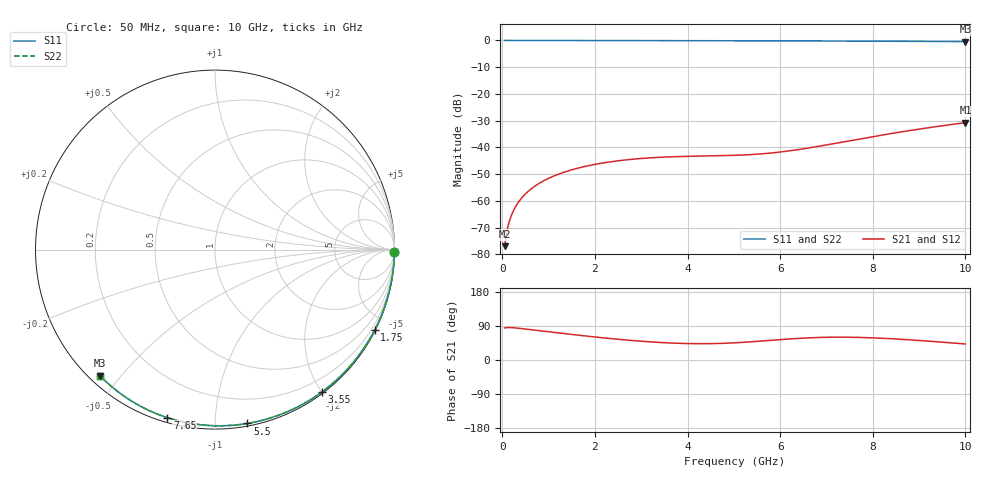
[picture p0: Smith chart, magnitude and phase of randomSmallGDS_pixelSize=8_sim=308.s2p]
! freq	dB(S11)	phase(S11)	dB(S12)	phase(S12)
!  dB(S21)	phase(S21)	dB(S22)	phase(S22)
!S-par simulation data
#  GHz  S  DB  R 50
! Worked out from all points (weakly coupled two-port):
!   200 points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, 50 MHz to 10 GHz, reference 50 ohm
!   highest |S21| = -30.73 dB at 10 GHz (marker M1); lowest = -76.9 dB at 50 MHz (marker M2)
!   lowest |S11| = -0.4 dB at 10 GHz (marker M3), VSWR 39.55, Z = 1.51 - j22 ohm
!   |S11| at or under -10 dB: nowhere
!   |S22| runs from -0.4 to 0.0 dB; largest |S21 - S12| = 0
!   S11 on the Smith chart (normalised r, x): 50 MHz: open; 1.75 GHz: 0.04, -4.19; 3.55 GHz: 0.02, -2.00; 5.5 GHz: 0.02, -1.20; 7.65 GHz: 0.02, -0.76; 10 GHz: 0.03, -0.44
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0.05  -0.00 -0.8  -76.95 84.6  -76.95 84.6  -0.00 -0.8
0.1  -0.00 -1.6  -71.20 85.7  -71.20 85.7  -0.00 -1.6
0.15  -0.00 -2.3  -67.74 85.7  -67.74 85.7  -0.00 -2.3
0.2  -0.00 -3.1  -65.27 85.4  -65.27 85.4  -0.00 -3.1
0.25  -0.00 -3.9  -63.35 85.0  -63.35 85.0  -0.00 -3.9
0.35  -0.00 -5.5  -60.46 83.8  -60.46 83.8  -0.00 -5.5
0.5  -0.01 -7.8  -57.40 81.8  -57.40 81.8  -0.01 -7.8
0.7  -0.01 -10.9  -54.54 78.9  -54.54 78.9  -0.01 -10.9
1  -0.02 -15.5  -51.58 74.6  -51.58 74.6  -0.02 -15.5
1.35  -0.03 -20.8  -49.19 69.5  -49.19 69.5  -0.03 -20.8
1.75  -0.03 -26.8  -47.26 64.0  -47.26 64.0  -0.03 -26.8
2.5  -0.05 -38.0  -45.01 54.7  -45.01 54.7  -0.05 -38.0
3.4  -0.07 -51.0  -43.70 46.3  -43.70 46.3  -0.07 -51.0
3.55  -0.07 -53.1  -43.58 45.3  -43.58 45.3  -0.07 -53.1
4.3  -0.09 -63.5  -43.24 43.0  -43.24 43.0  -0.09 -63.5
5.05  -0.11 -73.6  -42.95 45.5  -42.95 45.5  -0.11 -73.5
5.5  -0.13 -79.4  -42.54 49.1  -42.54 49.1  -0.13 -79.4
6.05  -0.15 -86.4  -41.63 54.3  -41.63 54.3  -0.15 -86.4
6.7  -0.18 -94.5  -39.97 58.9  -39.97 58.9  -0.18 -94.4
7.65  -0.24 -105.8  -37.05 59.8  -37.05 59.8  -0.24 -105.8
8.35  -0.29 -113.9  -34.95 56.5  -34.95 56.5  -0.29 -113.9
10  -0.44 -132.4  -30.73 42.3  -30.73 42.3  -0.44 -132.4
